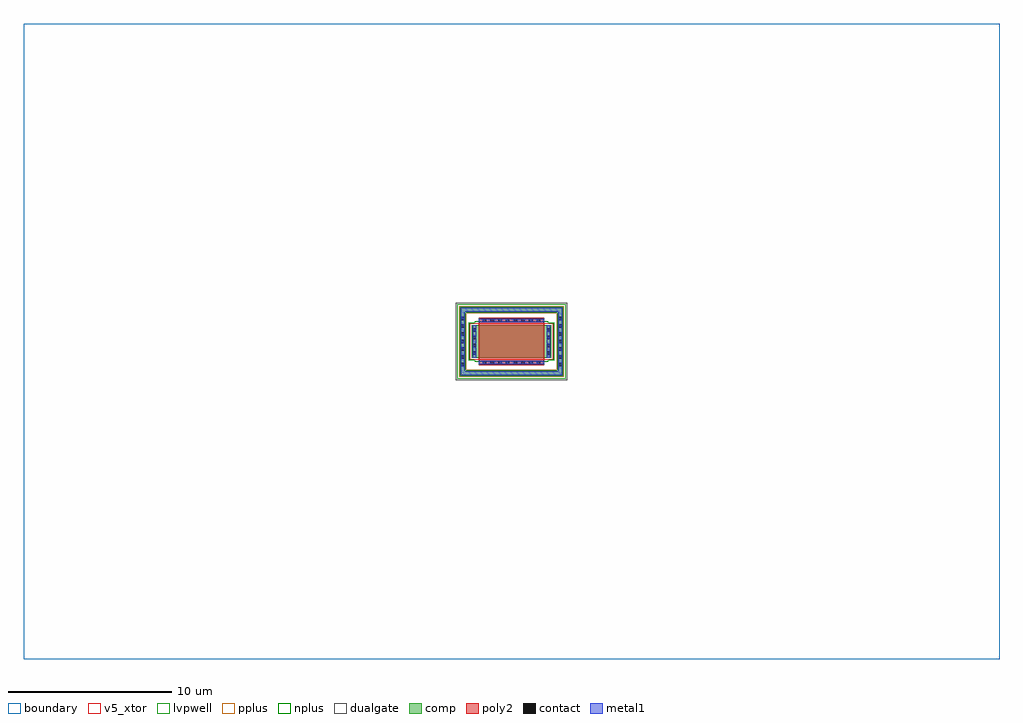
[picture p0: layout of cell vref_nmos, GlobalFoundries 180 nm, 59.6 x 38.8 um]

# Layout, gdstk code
import gdstk
lib = gdstk.Library(unit=1e-6, precision=1e-09)
def R(c, l, rs):  # rectangles x0, y0, x1, y1
    for r in rs: c.add(gdstk.rectangle(r[:2], r[2:], *l))
def A(c, l, x, y, w, h, nx, ny, dx, dy):  # array of equal rectangles
    R(c, l, [(x+i*dx, y+j*dy, x+i*dx+w, y+j*dy+h) for i in range(nx) for j in range(ny)])
boundary = (0, 0)
comp = (22, 0)
poly2 = (30, 0)
pplus = (31, 0)
nplus = (32, 0)
contact = (33, 0)
metal1 = (34, 0)
dualgate = (55, 0)
v5_xtor = (112, 1)
lvpwell = (204, 0)

vref_nmos = lib.new_cell('vref_nmos')
R(vref_nmos, boundary, [(-29.8,-19.4,29.8,19.4)])
R(vref_nmos, comp, [(-3.16,-2.12,3.16,-1.76), (-3.16,-1.76,-2.8,1.76), (2.8,-1.76,3.16,1.76), (-2.44,-1,2.44,1), (-3.16,1.76,3.16,2.12)])
R(vref_nmos, poly2, [(-2,-1.46,2,1.46)])
R(vref_nmos, pplus, [(-3.18,-2.14,3.18,-1.74), (-3.18,-1.74,-2.77,-1.635), (2.77,-1.74,3.18,-1.635), (-3.19,-1.635,-2.77,1.635), (2.77,-1.635,3.19,1.635), (-3.18,1.635,-2.77,1.74), (2.77,1.635,3.18,1.74), (-3.18,1.74,3.18,2.14)])
R(vref_nmos, nplus, [(-2.23,-1.23,2.23,-1.16), (-2.6,-1.16,2.6,1.16), (-2.23,1.16,2.23,1.23)])
A(vref_nmos, contact, -3.09, -1.52, 0.22, 0.22, 1, 7, 0, 0.47)
A(vref_nmos, contact, 2.87, -1.52, 0.22, 0.22, 1, 7, 0, 0.47)
A(vref_nmos, contact, -1.755, -1.39, 0.22, 0.22, 8, 2, 0.47, 2.56)
A(vref_nmos, contact, -2.37, -0.815, 0.22, 0.22, 1, 4, 0, 0.47)
A(vref_nmos, contact, 2.15, -0.815, 0.22, 0.22, 1, 4, 0, 0.47)
R(vref_nmos, metal1, [(-3.095,-2.055,3.095,-1.825), (-3.095,-1.825,-2.865,1.825), (2.865,-1.825,3.095,1.825), (-1.99,-1.395,1.99,-1.165), (-2.375,-0.99,-2.145,0.99), (2.145,-0.99,2.375,0.99), (-1.99,1.165,1.99,1.395), (-3.095,1.825,3.095,2.055)])
R(vref_nmos, dualgate, [(-3.4,-2.36,3.4,2.36)])
R(vref_nmos, v5_xtor, [(-2.54,-1.1,2.54,1.1)])
R(vref_nmos, lvpwell, [(-3.32,-2.28,3.32,2.28)])

lib.write_gds('vref_nmos.gds')
